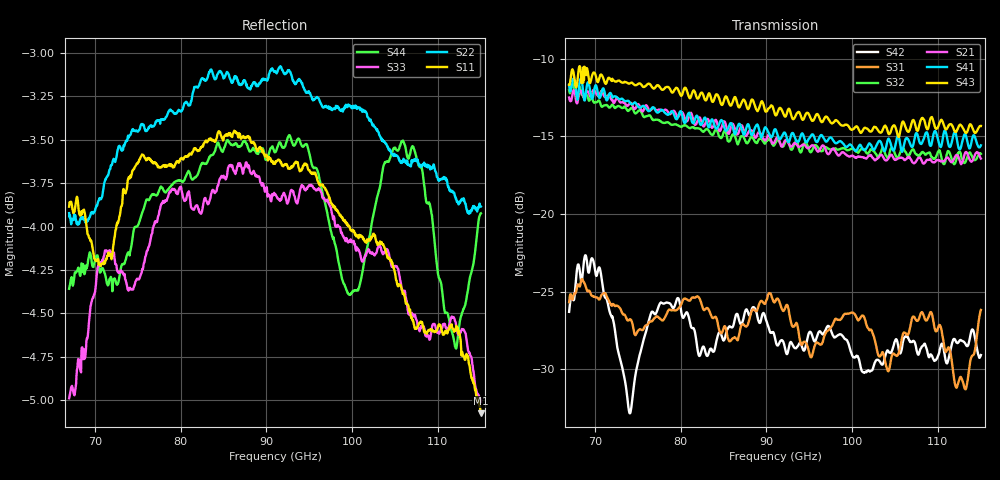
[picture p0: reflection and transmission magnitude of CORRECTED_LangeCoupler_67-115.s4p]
! Generated by Phase II Calibration
# Hz S RI R 50
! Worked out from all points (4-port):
!   1001 points, 67 GHz to 115 GHz, reference 50 ohm
!   strongest paths, dB at 67 GHz, 79 GHz, 91 GHz, 103 GHz, 115 GHz:
!     S43: -11.7, -12.2, -13.6, -14.6, -14.3
!     S41: -11.7, -13.4, -14.5, -15.4, -15.6
!     S21: -12.5, -13.4, -15.3, -16.4, -16.4
!     S32: -12.0, -14.3, -15.5, -16.3, -16.1
!     S31: -25.7, -26.2, -25.7, -29.0, -26.2
!     S42: -26.3, -26.0, -28.0, -29.4, -29.1
!   lowest |S11| = -5.1 dB at 115 GHz (marker M1), VSWR 3.52, Z = 14.4 - j5.22 ohm
!   |S11| at or under -10 dB: nowhere
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6.7e10  -0.562 -0.3048  -0.2011 0.1405  0.049 0.0178  -0.0756 -0.241
        -0.19 0.1418  -0.5853 -0.2505  -0.0637 -0.2379  0.0382 0.0331
        0.0481 0.0198  -0.0715 -0.2402  -0.4855 -0.285  -0.2334 0.1465
        -0.0875 -0.2448  0.0359 0.0325  -0.2276 0.1271  -0.5208 -0.3089
7.0552e10  -0.5536 -0.2688  -0.1784 0.1688  0.0498 -0.0219  -0.0865 -0.2231
           -0.1771 0.1663  -0.5891 -0.2577  -0.0762 -0.217  0.0518 -0.0406
           0.0487 -0.0211  -0.0827 -0.2153  -0.5205 -0.3283  -0.2125 0.1752
           -0.0826 -0.2213  0.0527 -0.0415  -0.223 0.1629  -0.5393 -0.2907
7.4104e10  -0.5857 -0.2876  -0.1335 0.1841  0.0269 -0.0364  -0.0982 -0.2086
           -0.1341 0.1836  -0.6204 -0.2539  -0.084 -0.198  0.0151 -0.0168
           0.0279 -0.0363  -0.0846 -0.2003  -0.529 -0.2952  -0.1703 0.2055
           -0.0991 -0.2057  0.0156 -0.0167  -0.179 0.1929  -0.5417 -0.3028
7.7992e10  -0.6031 -0.2602  -0.0976 0.1925  0.0202 -0.0412  -0.1003 -0.1907
           -0.0968 0.1922  -0.6342 -0.2385  -0.0906 -0.1738  0.0234 -0.0469
           0.0203 -0.0408  -0.089 -0.1751  -0.5533 -0.3243  -0.127 0.2195
           -0.1022 -0.1887  0.0223 -0.0463  -0.1368 0.2111  -0.5765 -0.2925
1.09144e11  -0.5696 -0.1516  0.0791 0.1276  -0.046 0.00622  -0.1291 -0.1296
            0.0868 0.1217  -0.6426 -0.1318  -0.106 -0.1161  -0.032 0.00071
            -0.0481 0.00404  -0.1098 -0.1089  -0.5501 -0.2043  0.1219 0.1538
            -0.1155 -0.1188  -0.0353 0.00132  0.1108 0.1706  -0.5741 -0.2795
1.13176e11  -0.5607 -0.1387  0.107 0.1096  -0.0287 0.000778  -0.1238 -0.1087
            0.1065 0.1162  -0.6302 -0.1152  -0.1076 -0.0981  -0.0366 0.00661
            -0.0272 0.0019  -0.1066 -0.1005  -0.5585 -0.1836  0.1346 0.1277
            -0.1365 -0.1186  -0.0376 0.00701  0.1297 0.1294  -0.5754 -0.1658
1.15e11  -0.5432 -0.1252  0.1175 0.0984  -0.0471 -0.00028  -0.1366 -0.1013
         0.1158 0.0965  -0.629 -0.1147  -0.1198 -0.1027  -0.0331 0.0119
         -0.049 0.0013  -0.1204 -0.0994  -0.5334 -0.1763  0.1523 0.1068
         -0.1284 -0.1057  -0.0332 0.0114  0.1482 0.1222  -0.6145 -0.1661
